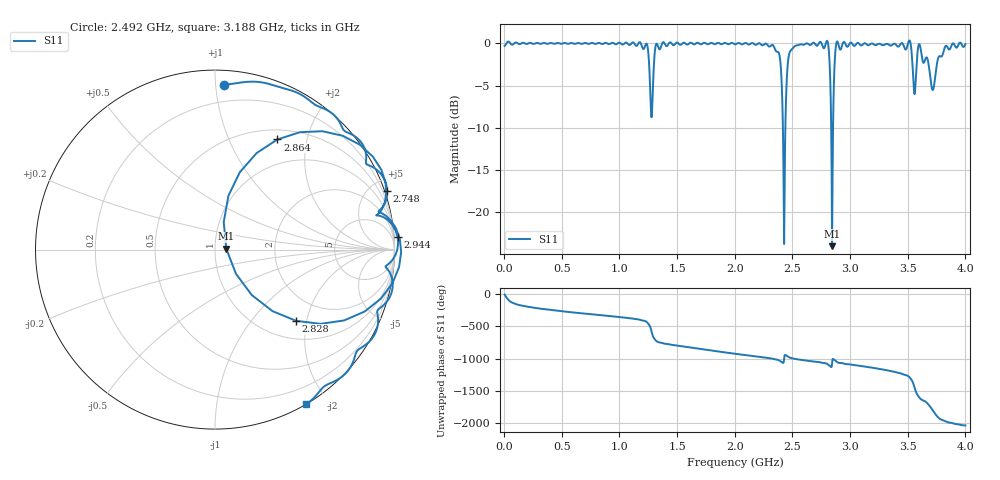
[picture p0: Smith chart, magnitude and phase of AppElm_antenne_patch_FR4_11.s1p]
! TOUCHSTONE file generated by CST MICROWAVE STUDIO
! Date and time: Tue Jun 14 11:51:07 2022
! Project name: AppElm_antenne_patch_FR4.cst
! Parameters = {L=56.25; W=58.5; e=0.035; h=1.6; lambda=0.190476; ls=120; w0=2.54; w1=0.847; ws=120; y0=18; y1=23.8}
! Header version: 2018
! Port assignment regex: !\s*Touchstone port\s*([0-9]+)\s*=\s*(CST MWS port|CST DS port)\s*([0-9]+|Zmin|Zmax)\s*\(\"(.*)\"\)(\s*mode\s*([0-9]+))?.*
! Touchstone port assignment:
! Touchstone port 1 = CST MWS port 1 ("")
# GHz S MA R 50
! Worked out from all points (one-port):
!   1000 points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, 4 MHz to 4 GHz, reference 50 ohm
!   lowest |S11| = -24.0 dB at 2.844 GHz (marker M1), VSWR 1.13, Z = 56.7 + j0.544 ohm
!   |S11| at or under -10 dB: 2.417 GHz to 2.439 GHz (21.45 MHz wide, 0.883 % of centre); 2.836 GHz to 2.852 GHz (16.04 MHz wide, 0.564 % of centre)
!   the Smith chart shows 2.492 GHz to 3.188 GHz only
!   S11 on the Smith chart (normalised r, x): 2.492 GHz: 0.09, +1.05; 2.748 GHz: -0.26, +6.01; 2.828 GHz: 1.39, -1.74; 2.864 GHz: 0.63, +1.53; 2.944 GHz: -7, +26; 3.188 GHz: 0.00, -1.75
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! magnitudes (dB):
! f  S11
! 4 MHz  -0.3
! 504 MHz  0.0
! 1.004 GHz  0.1
! 1.232 GHz  0.0
! 1.28 GHz  -8.7
! 1.324 GHz  0.0
! 1.504 GHz  0.1
! 2.004 GHz  -0.1
! 2.372 GHz  -1.0
! 2.428 GHz  -23.7
! 2.464 GHz  -1.9
! 2.492 GHz  -0.7
! 2.504 GHz  -0.6
! 2.748 GHz  0.1
! 2.804 GHz  0.3
! 2.828 GHz  -4.4
! 2.844 GHz  -24.0
! 2.864 GHz  -3.0
! 2.884 GHz  0.2
! 2.944 GHz  0.2
! 3.004 GHz  0.1
! 3.188 GHz  0.0
! 3.504 GHz  0.1
! 3.556 GHz  -5.9
! 3.604 GHz  -0.2
! 3.716 GHz  -5.5
! 3.828 GHz  -0.3
! 4 GHz  -0.1
